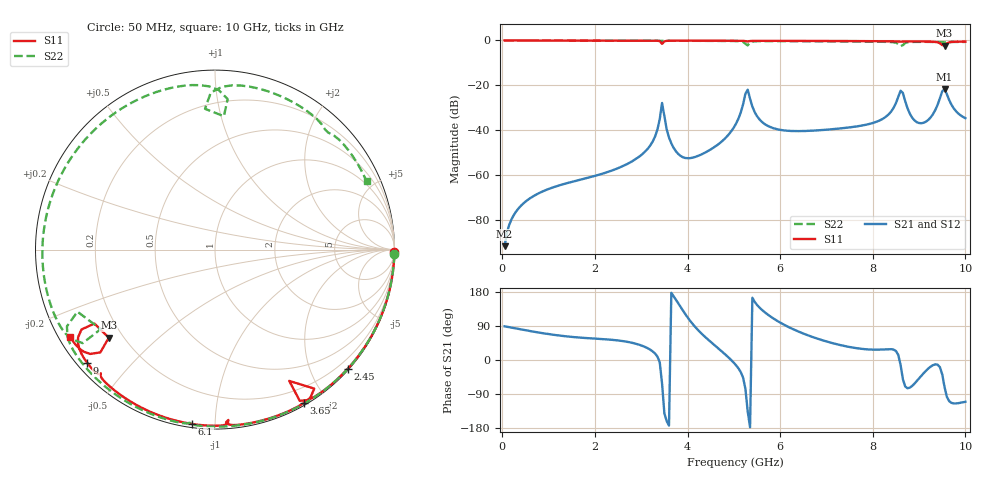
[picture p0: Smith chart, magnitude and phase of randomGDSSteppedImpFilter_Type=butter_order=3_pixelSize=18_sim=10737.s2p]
! freq	dB(S11)	phase(S11)	dB(S12)	phase(S12)
!  dB(S21)	phase(S21)	dB(S22)	phase(S22)
!S-par simulation data
#  GHz  S  DB  R 50
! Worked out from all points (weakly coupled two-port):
!   200 points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, 50 MHz to 10 GHz, reference 50 ohm
!   highest |S21| = -21.77 dB at 9.55 GHz (marker M1); lowest = -91.9 dB at 50 MHz (marker M2)
!   lowest |S11| = -2.3 dB at 9.55 GHz (marker M3), VSWR 7.65, Z = 7.37 - j17.7 ohm
!   |S11| at or under -10 dB: nowhere
!   |S22| runs from -2.6 to 0.0 dB; largest |S21 - S12| = 0
!   S11 on the Smith chart (normalised r, x): 50 MHz: open; 2.45 GHz: 0.02, -2.61; 3.65 GHz: 0.02, -1.74; 6.1 GHz: 0.02, -0.88; 9 GHz: 0.03, -0.38; 10 GHz: 0.03, -0.28
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0.05  -0.00 -0.9  -91.87 88.8  -91.87 88.8  -0.00 -1.5
0.75  -0.02 -13.0  -68.62 73.2  -68.62 73.2  -0.03 -22.0
1.75  -0.04 -30.2  -61.84 58.4  -61.84 58.4  -0.06 -50.7
2.45  -0.05 -41.9  -57.43 52.3  -57.43 52.3  -0.09 -70.4
3.15  -0.08 -53.9  -48.13 30.4  -48.13 30.4  -0.12 -89.9
3.4  -0.30 -60.7  -35.09 -6.0  -35.09 -6.0  -0.14 -97.0
3.45  -1.51 -60.5  -27.92 -62.4  -27.92 -62.4  -0.22 -98.3
3.65  -0.11 -59.8  -45.94 177.4  -45.94 177.4  -0.14 -103.6
3.85  -0.09 -63.6  -51.56 140.0  -51.56 140.0  -0.15 -109.2
4.15  -0.10 -68.5  -52.13 89.3  -52.13 89.3  -0.17 -117.6
5.05  -0.13 -82.6  -37.04 -14.2  -37.04 -14.2  -0.28 -145.0
5.3  -0.43 -85.5  -22.01 -136.4  -22.01 -136.4  -2.20 -145.1
5.55  -0.16 -89.3  -35.16 138.8  -35.16 138.8  -0.32 -155.0
6.1  -0.18 -97.5  -40.22 92.1  -40.22 92.1  -0.32 -173.6
6.7  -0.21 -106.1  -40.28 60.7  -40.28 60.7  -0.38 166.1
8.35  -0.36 -129.3  -32.85 28.7  -32.85 28.7  -0.67 98.0
8.6  -0.55 -132.7  -22.46 -12.6  -22.46 -12.6  -2.56 86.2
8.8  -0.40 -135.1  -32.69 -73.0  -32.69 -73.0  -0.72 84.0
9  -0.43 -138.5  -36.88 -48.5  -36.88 -48.5  -0.63 72.5
9.25  -0.54 -143.1  -34.35 -17.5  -34.35 -17.5  -0.65 59.7
9.55  -2.28 -140.3  -21.77 -71.5  -21.77 -71.5  -0.85 46.0
10  -0.52 -148.9  -34.71 -110.2  -34.71 -110.2  -0.66 24.3
